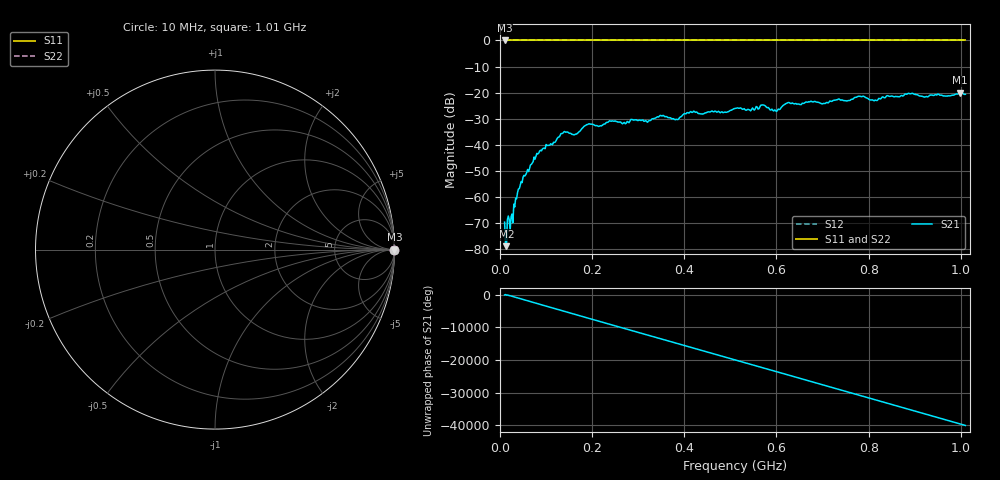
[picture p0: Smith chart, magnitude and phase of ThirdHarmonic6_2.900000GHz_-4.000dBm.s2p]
! 8/17/2025 8:00:33 AM
! C:\ANRITSUVNA\TEMP\TEMP.S2P
! CHANNEL.1
! TR.MEASUREMENT
! RAW.DATA
! RF.CORRECTION.OFF
! AVERAGING.OFF
! IF.BANDWIDTH: 5KHZ
! SWEEPTYPE:  FREQ.SWEEP(Linear)
! Reference Plane Port Info
! PORT:  PORT1  PORT2
! DISTANCE:  0  m  0  m
! TIME:  0  s  0  s
! PHASE.OFFSET:  0  deg.  0  deg.
! LOSS:  0  dB  0  dB
! REF.LOSS:  0  dB  0  dB
! REF.FREQ:  0  Hz  0  Hz
! Power Info
! POWER:  -20  dBm  -20  dBm
! EFF.POWER:  -20  dBm  -20  dBm
! SOURCE.ATTEN:  0  dB  0  dB
! TEST.ATTEN:  0  dB  0  dB
# GHZ S RI R 50.0
! FREQ.GHZ  S11RE  S11IM  S21RE  S21IM  S12RE  S12IM  S22RE  S22IM
!; PortSelection: Port_12
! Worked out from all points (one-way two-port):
!   501 points, 10 MHz to 1.01 GHz, reference 50 ohm
!   highest |S21| = -20.05 dB at 998 MHz (marker M1); lowest = -78.9 dB at 14 MHz (marker M2)
!   lowest |S11| = 0.0 dB at 10 MHz (marker M3)
!   |S11| at or under -10 dB: nowhere
!   |S22| runs from 0.0 to 0.0 dB; largest |S21 - S12| = 1.1
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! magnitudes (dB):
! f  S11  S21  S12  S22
! 10 MHz  0.0  -69.7  0.0  0.0
! 14 MHz  0.0  -78.9  0.0  0.0
! 20 MHz  0.0  -68.8  0.0  0.0
! 24 MHz  0.0  -67.6  0.0  0.0
! 34 MHz  0.0  -60.4  0.0  0.0
! 48 MHz  0.0  -54.5  0.0  0.0
! 78 MHz  0.0  -44.4  0.0  0.0
! 136 MHz  0.0  -35.6  0.0  0.0
! 162 MHz  0.0  -36.2  0.0  0.0
! 178 MHz  0.0  -33.8  0.0  0.0
! 192 MHz  0.0  -32.0  0.0  0.0
! 344 MHz  0.0  -29.4  0.0  0.0
! 384 MHz  0.0  -30.3  0.0  0.0
! 410 MHz  0.0  -27.9  0.0  0.0
! 510 MHz  0.0  -26.1  0.0  0.0
! 570 MHz  0.0  -24.7  0.0  0.0
! 598 MHz  0.0  -26.8  0.0  0.0
! 624 MHz  0.0  -23.9  0.0  0.0
! 678 MHz  0.0  -23.5  0.0  0.0
! 844 MHz  0.0  -21.4  0.0  0.0
! 998 MHz  0.0  -20.0  0.0  0.0
! 1.01 GHz  0.0  -20.6  0.0  0.0
